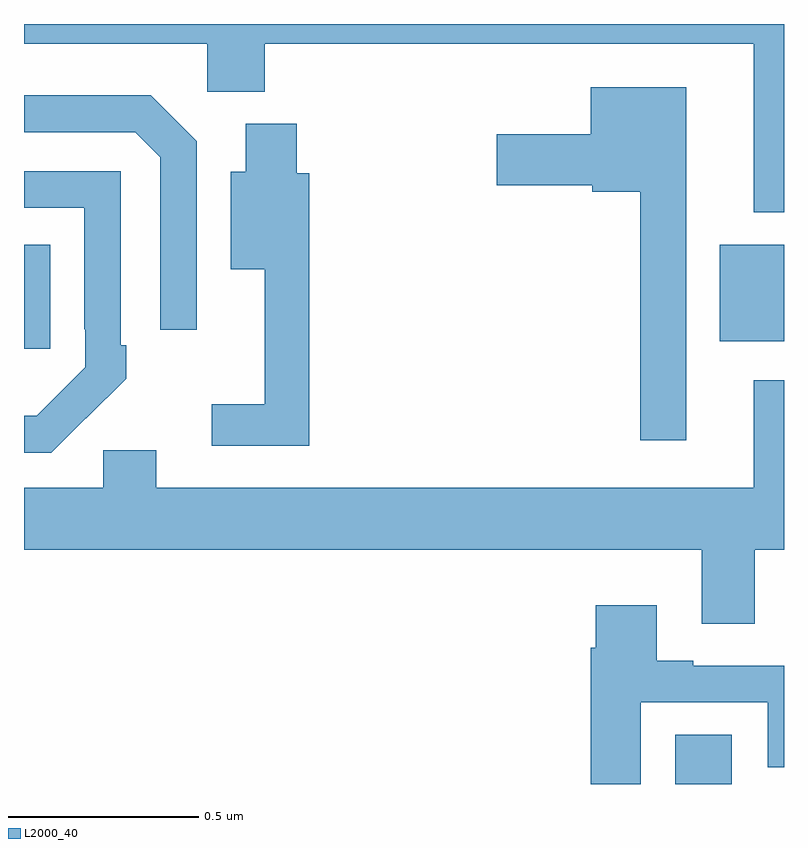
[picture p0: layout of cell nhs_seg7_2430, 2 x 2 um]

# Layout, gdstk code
import gdstk
lib = gdstk.Library(unit=1e-6, precision=1e-09)
def R(c, l, rs):  # rectangles x0, y0, x1, y1
    for r in rs: c.add(gdstk.rectangle(r[:2], r[2:], *l))
def P(c, l, *ps):  # polygons
    for p in ps: c.add(gdstk.Polygon(p, *l))
L2000_40 = (2000, 40)

nhs_seg7_2430 = lib.new_cell('nhs_seg7_2430')
R(nhs_seg7_2430, L2000_40, [(146.714,1000,146.863,1000.13), (145,1001.145,145.069,1001.419), (146.831,1001.165,147,1001.419)])
P(nhs_seg7_2430, L2000_40, [(147,1002),(145,1002),(145,1001.948),(145.482,1001.948),(145.482,1001.822),(145.634,1001.822),(145.634,1001.948),(146.921,1001.948),(146.921,1001.504),(147,1001.504)],
  [(146.743,1001.833),(146.492,1001.833),(146.492,1001.71),(146.244,1001.71),(146.244,1001.576),(146.496,1001.576),(146.496,1001.558),(146.622,1001.558),(146.622,1000.905),(146.743,1000.905)],
  [(145.455,1001.691),(145.334,1001.812),(145,1001.812),(145,1001.715),(145.293,1001.715),(145.359,1001.649),(145.359,1001.196),(145.455,1001.196)],
  [(145.751,1001.607),(145.718,1001.607),(145.718,1001.737),(145.583,1001.737),(145.583,1001.611),(145.544,1001.611),(145.544,1001.354),(145.634,1001.354),(145.634,1000.999),(145.494,1000.999),(145.494,1000.89),(145.751,1000.89)],
  [(145.163,1000.963),(145.164,1000.962),(145.269,1001.067),(145.269,1001.155),(145.254,1001.155),(145.254,1001.613),(145,1001.613),(145,1001.517),(145.158,1001.517),(145.158,1001.197),(145.161,1001.197),(145.161,1001.097),(145.033,1000.969),(145,1000.969),(145,1000.872),(145.072,1000.872)],
  [(146.923,1000.616),(147,1000.616),(147,1001.062),(146.921,1001.062),(146.921,1000.78),(145.348,1000.78),(145.348,1000.878),(145.209,1000.878),(145.209,1000.78),(145,1000.78),(145,1000.616),(146.783,1000.616),(146.783,1000.422),(146.923,1000.422)],
  [(146.623,1000.215),(146.957,1000.215),(146.957,1000.044),(147,1000.044),(147,1000.311),(146.761,1000.311),(146.761,1000.324),(146.665,1000.324),(146.665,1000.471),(146.504,1000.471),(146.504,1000.358),(146.492,1000.358),(146.492,1000),(146.623,1000)])

lib.write_gds('nhs_seg7_2430.gds')
